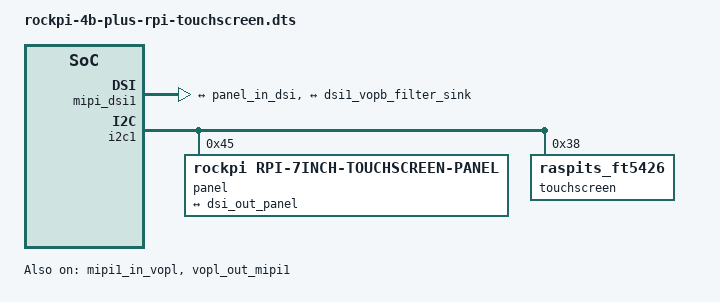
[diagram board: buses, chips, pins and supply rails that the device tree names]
/dts-v1/;
/plugin/;

/*
 * Rock Pi 4B+ support for the original Raspberry Pi 7-inch Touch Display.
 * The graph endpoint statuses prefer the little VOP for DSI1; the display
 * compatibility provider follows the live DSI1 GRF route. The unused DSI0
 * host remains disabled and supplies only clocks/PHY resources to the
 * provider. The panel and touch controllers share I2C1.
 */

&{/} {
	rockpi_display_compat: rockpi-display-compat {
		compatible = "rockpi,rk3399-dsi1-rpi-touchscreen-compat";
		/* RK3399_PD_VIO is binding ID 15. */
		power-domains = <&power 15>;
		rockchip,dsi0 = <&mipi_dsi>;
		rockchip,dsi1 = <&mipi_dsi1>;
		rockchip,grf = <&grf>;
		rockchip,vopb = <&vopb>;
		rockchip,vopl = <&vopl>;
		status = "okay";
	};

	rockpi_dsi1_vopb_route_filter: rockpi-dsi1-vopb-route-filter {
		status = "disabled";

		ports {
			#address-cells = <1>;
			#size-cells = <0>;

			port@0 {
				reg = <0>;
				dsi1_vopb_filter_sink: endpoint {
					remote-endpoint = <&mipi1_in_vopb>;
				};
			};

			port@1 {
				reg = <1>;
				vopb_dsi1_filter_sink: endpoint {
					remote-endpoint = <&vopb_out_mipi1>;
				};
			};
		};
	};
};

&mipi_dsi {
	status = "disabled";
};

&mipi_dsi1 {
	status = "okay";

	ports {
		#address-cells = <1>;
		#size-cells = <0>;

		port@1 {
			reg = <1>;
			dsi_out_panel: endpoint {
				remote-endpoint = <&panel_in_dsi>;
			};
		};

		port@0 {
			reg = <0>;
			#address-cells = <1>;
			#size-cells = <0>;
			endpoint@0 {
				reg = <0>;
				status = "disabled";
				remote-endpoint = <&dsi1_vopb_filter_sink>;
			};

			endpoint@1 {
				reg = <1>;
			};
		};
	};
};

&mipi1_in_vopl {
	status = "okay";
};

&vopl_out_mipi1 {
	status = "okay";
};

&vopb {
	port {
		#address-cells = <1>;
		#size-cells = <0>;
		endpoint@3 {
			reg = <3>;
			status = "disabled";
			remote-endpoint = <&vopb_dsi1_filter_sink>;
		};
	};
};

&i2c1 {
	#address-cells = <1>;
	#size-cells = <0>;
	status = "okay";

	panel@45 {
		compatible = "rockpi,rpi-7inch-touchscreen-panel";
		reg = <0x45>;
		rockpi,display-compat = <&rockpi_display_compat>;

		port {
			panel_in_dsi: endpoint {
				remote-endpoint = <&dsi_out_panel>;
			};
		};
	};

	touchscreen@38 {
		compatible = "raspits_ft5426";
		reg = <0x38>;
		touchscreen-size-x = <800>;
		touchscreen-size-y = <480>;
		touchscreen-inverted-x;
		touchscreen-inverted-y;
	};
};
